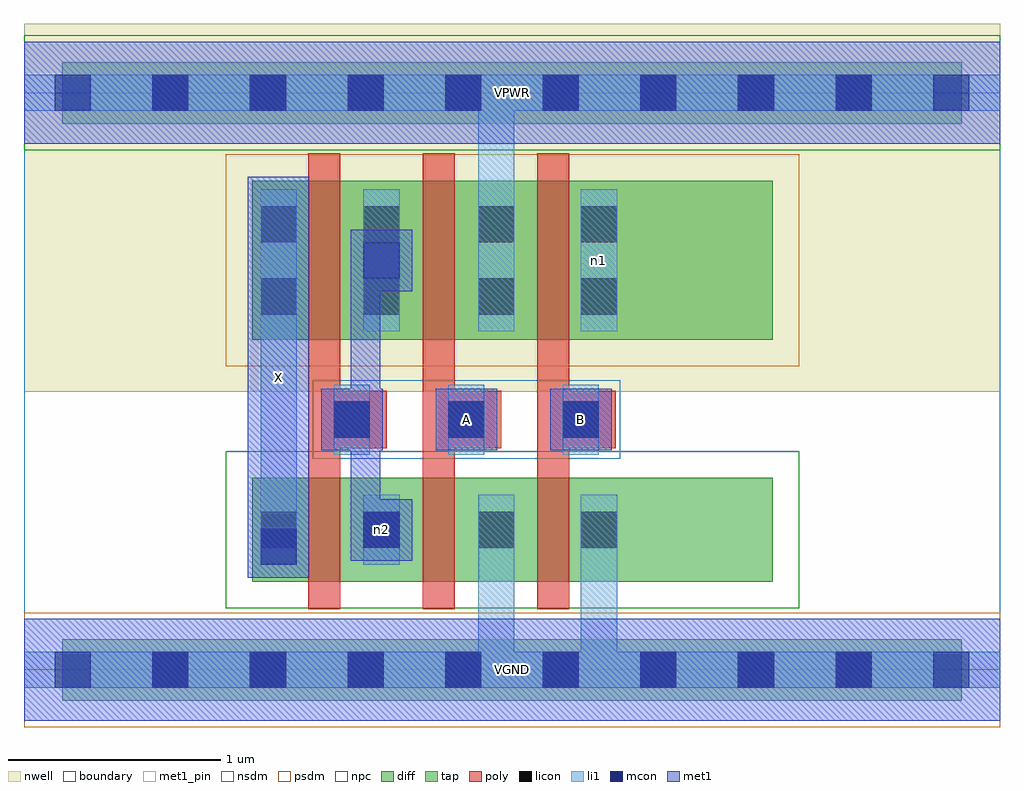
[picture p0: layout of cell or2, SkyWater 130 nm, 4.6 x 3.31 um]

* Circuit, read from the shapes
.subckt or2 A B VGND VPWR X n1 n2
XM1 n2 n2 X VGND sky130_fd_pr__nfet_01v8 w=0.49 l=0.15
XM2 VGND A n2 VGND sky130_fd_pr__nfet_01v8 w=0.49 l=0.15
XM3 VGND B VGND VGND sky130_fd_pr__nfet_01v8 w=0.49 l=0.15
XM4 n2 n2 X VPWR sky130_fd_pr__pfet_01v8 w=0.75 l=0.15
XM5 VPWR A n2 VPWR sky130_fd_pr__pfet_01v8 w=0.75 l=0.15
XM6 n1 B VPWR VPWR sky130_fd_pr__pfet_01v8 w=0.75 l=0.15
.ends

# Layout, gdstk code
import gdstk
lib = gdstk.Library(unit=1e-6, precision=1e-09)
def R(c, l, rs):  # rectangles x0, y0, x1, y1
    for r in rs: c.add(gdstk.rectangle(r[:2], r[2:], *l))
def A(c, l, x, y, w, h, nx, ny, dx, dy):  # array of equal rectangles
    R(c, l, [(x+i*dx, y+j*dy, x+i*dx+w, y+j*dy+h) for i in range(nx) for j in range(ny)])
nwell = (64, 20)
diff = (65, 20)
tap = (65, 44)
poly = (66, 20)
licon = (66, 44)
li1 = (67, 20)
mcon = (67, 44)
met1_pin = (68, 16)
met1 = (68, 20)
nsdm = (93, 44)
psdm = (94, 20)
npc = (95, 20)
boundary = (235, 4)

or2 = lib.new_cell('or2')
R(or2, nwell, [(0,1.31,4.6,3.045)])
R(or2, diff, [(1.075,0.415,3.53,0.905), (1.075,1.555,3.53,2.305)])
R(or2, tap, [(0.18,-0.145,4.42,0.145), (0.18,2.575,4.42,2.865)])
A(or2, poly, 1.34, 0.285, 0.15, 2.15, 3, 1, 0.54, 0)
A(or2, poly, 1.38, 1.045, 0.33, 0.27, 3, 1, 0.54, 0)
A(or2, licon, 0.605, -0.085, 0.17, 0.17, 8, 2, 0.46, 2.72)
A(or2, licon, 1.46, 1.095, 0.17, 0.17, 3, 1, 0.54, 0)
R(or2, licon, [(1.115,0.575,1.285,0.745), (1.6,0.575,1.77,0.745), (2.14,0.575,2.31,0.745), (2.625,0.575,2.795,0.745), (1.115,1.675,1.285,1.845), (1.6,1.675,1.77,1.845), (2.14,1.675,2.31,1.845), (2.625,1.675,2.795,1.845), (1.115,2.015,1.285,2.185), (1.6,2.015,1.77,2.185), (2.14,2.015,2.31,2.185), (2.625,2.015,2.795,2.185)])
A(or2, li1, 1.46, 1.015, 0.17, 0.33, 3, 1, 0.54, 0)
R(or2, li1, [(0,-0.085,4.6,0.085), (2.14,-0.085,2.31,0.825), (2.625,-0.085,2.795,0.825), (1.115,0.495,1.285,0.825), (1.115,0.495,1.285,2.265), (1.6,0.495,1.77,0.825), (2.14,0.495,2.31,0.825), (2.625,0.495,2.795,0.825), (1.115,1.595,1.285,2.265), (1.6,1.595,1.77,2.265), (2.14,1.595,2.31,2.265), (2.14,1.595,2.31,2.805), (2.625,1.595,2.795,2.265), (2.625,1.595,2.795,2.265), (0,2.635,4.6,2.805)])
A(or2, mcon, 0.145, -0.085, 0.17, 0.17, 10, 2, 0.46, 2.72)
A(or2, mcon, 1.46, 1.095, 0.17, 0.17, 3, 1, 0.54, 0)
R(or2, mcon, [(1.115,0.495,1.285,0.665), (1.6,0.575,1.77,0.745), (1.6,1.845,1.77,2.015)])
R(or2, met1_pin, [(0,-0.24,4.6,0.24), (1.055,0.435,1.345,2.325), (1.94,1.035,2.23,1.325), (2.48,1.035,2.77,1.325), (0,2.48,4.6,2.96)])
A(or2, met1, 1.4, 1.035, 0.29, 0.29, 3, 1, 0.54, 0)
R(or2, met1, [(0,-0.24,4.6,0.24), (1.055,0.435,1.345,0.725), (1.055,0.435,1.345,2.325), (1.08,0.505,1.22,0.645), (1.08,0.505,1.22,0.65), (1.08,0.51,1.27,0.65), (1.54,0.515,1.83,0.805), (1.54,0.62,1.68,0.76), (1.54,0.62,1.68,1.22), (1.54,1.08,1.68,1.22), (1.54,1.08,1.68,2.025), (1.54,1.785,1.83,2.075), (1.54,1.885,1.68,2.025), (0,2.48,4.6,2.96)])
R(or2, nsdm, [(0.95,0.29,3.655,1.03), (0,2.45,4.6,2.99)])
R(or2, psdm, [(0,-0.27,4.6,0.27), (0.95,1.43,3.655,2.43)])
R(or2, npc, [(1.36,0.995,2.81,1.365)])
R(or2, boundary, [(0,0,4.6,2.72)])
or2.add(gdstk.Label('n2', (1.685,0.66), layer=67, texttype=5))
or2.add(gdstk.Label('n1', (2.71,1.93), layer=67, texttype=5))
or2.add(gdstk.Label('A', (2.085,1.18), layer=68, texttype=5))
or2.add(gdstk.Label('B', (2.625,1.18), layer=68, texttype=5))
or2.add(gdstk.Label('X', (1.2,1.38), layer=68, texttype=5))
or2.add(gdstk.Label('VPWR', (2.3,2.72), layer=68, texttype=5))
or2.add(gdstk.Label('VGND', (2.3,0), layer=68, texttype=5))
or2.add(gdstk.Label('A', (2.085,1.18), layer=68, texttype=16))
or2.add(gdstk.Label('B', (2.625,1.18), layer=68, texttype=16))
or2.add(gdstk.Label('X', (1.2,1.38), layer=68, texttype=16))
or2.add(gdstk.Label('VPWR', (2.3,2.72), layer=68, texttype=16))
or2.add(gdstk.Label('VGND', (2.3,0), layer=68, texttype=16))

lib.write_gds('or2.gds')
